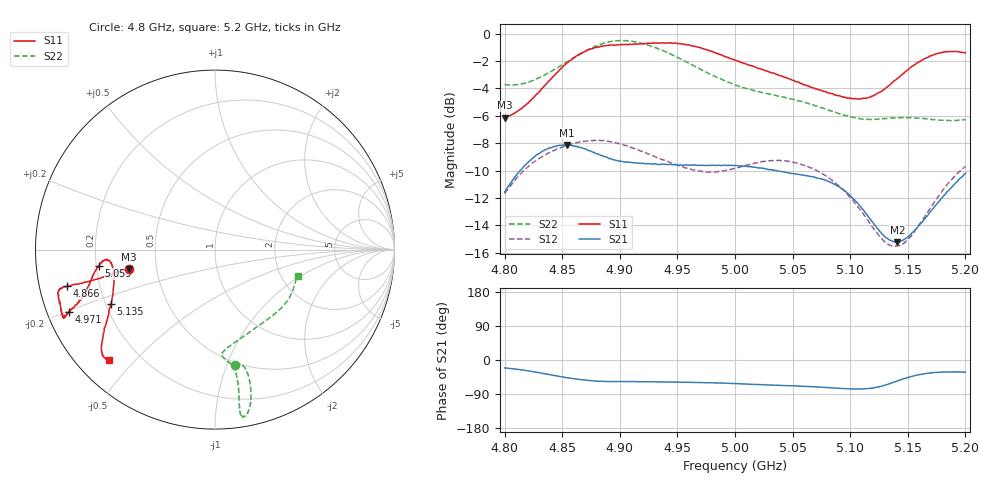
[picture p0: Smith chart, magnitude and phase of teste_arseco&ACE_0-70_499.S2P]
! Network Analyzer HP8722D
! Hewlett-Packard
! Data name: Linha & Wilkinson
! Saver's name: Rodrigo Anjos
! Comments: Teste da utilização de aquisição
! continua pelo VNA HP8722D
! Time and date: 8/5/2025 16:55
!  Frequency  S11  S21  S12  S22
# HZ  S  MA R 50
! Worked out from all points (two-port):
!   401 points, 4.8 GHz to 5.2 GHz, reference 50 ohm
!   highest |S21| = -8.13 dB at 4.854 GHz (marker M1); lowest = -15.2 dB at 5.141 GHz (marker M2)
!   |S21| within 3 dB of the highest: 4.803 GHz to 5.089 GHz (285.4 MHz wide, 5.77 % of centre); 5.189241 GHz to end of sweep
!   lowest |S11| = -6.1 dB at 4.8 GHz (marker M3), VSWR 2.95, Z = 17.1 - j4.93 ohm
!   |S11| at or under -10 dB: nowhere
!   |S22| runs from -6.4 to -0.5 dB; largest |S21 - S12| = 0.62
!   S11 on the Smith chart (normalised r, x): 4.8 GHz: 0.34, -0.10; 4.866 GHz: 0.08, -0.12; 4.971 GHz: 0.06, -0.20; 5.059 GHz: 0.21, -0.07; 5.135 GHz: 0.22, -0.23; 5.2 GHz: 0.09, -0.42
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4.8e9  0.4937 -167.3  0.2642 -20.9  0.2607 -142.0  0.6529 -80.1
4.826e9  0.5901 -166.7  0.3557 -31.6  0.3406 -146.3  0.6786 -75.9
4.854e9  0.7813 -165.9  0.3923 -46.7  0.3911 -151.3  0.7885 -75.6
4.866e9  0.847 -166.1  0.3835 -51.8  0.403 -153.1  0.8453 -76.3
4.867e9  0.8508 -166.0  0.3829 -52.1  0.4029 -153.3  0.85 -76.4
4.88e9  0.8913 -165.8  0.3644 -55.7  0.408 -155.2  0.9048 -77.7
4.899e9  0.9097 -163.0  0.3427 -57.2  0.3976 -157.4  0.9436 -80.0
4.934e9  0.9269 -156.8  0.3326 -57.9  0.3514 -156.0  0.8781 -81.1
4.971e9  0.886 -156.8  0.3302 -59.7  0.3141 -146.9  0.7386 -80.3
5e9  0.8006 -159.4  0.3295 -62.3  0.3225 -137.8  0.6496 -81.7
5.036e9  0.7105 -166.3  0.3162 -66.8  0.3441 -135.4  0.5943 -86.1
5.059e9  0.6531 -172.0  0.3041 -69.2  0.332 -137.1  0.5627 -84.6
5.067e9  0.6361 -173.3  0.3005 -70.3  0.3228 -138.0  0.5507 -82.7
5.083e9  0.6053 -174.7  0.2862 -73.4  0.2941 -139.4  0.5231 -76.3
5.101e9  0.5818 -171.3  0.2538 -76.5  0.2493 -139.4  0.4959 -65.7
5.116e9  0.5845 -164.0  0.2137 -75.5  0.2059 -135.0  0.486 -54.9
5.134e9  0.6477 -153.0  0.1764 -62.8  0.1688 -118.3  0.4914 -42.7
5.135e9  0.6532 -152.3  0.1757 -61.6  0.1687 -116.8  0.4917 -42.1
5.141e9  0.6869 -149.5  0.1733 -55.1  0.1674 -109.0  0.4934 -38.7
5.152e9  0.7501 -144.8  0.1841 -44.5  0.1806 -95.3  0.4939 -33.1
5.171e9  0.8331 -139.4  0.2274 -33.9  0.2351 -81.6  0.4857 -24.8
5.2e9  0.8517 -133.9  0.3088 -32.2  0.3274 -77.8  0.4842 -17.7
